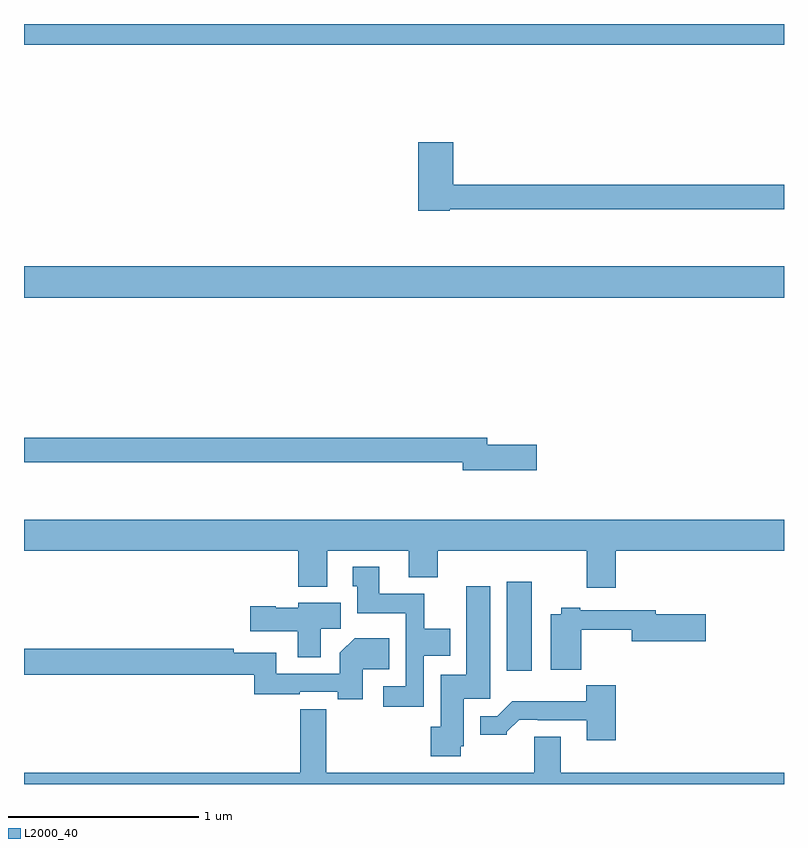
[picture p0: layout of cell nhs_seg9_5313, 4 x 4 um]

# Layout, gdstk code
import gdstk
lib = gdstk.Library(unit=1e-6, precision=1e-09)
def R(c, l, rs):  # rectangles x0, y0, x1, y1
    for r in rs: c.add(gdstk.rectangle(r[:2], r[2:], *l))
def P(c, l, *ps):  # polygons
    for p in ps: c.add(gdstk.Polygon(p, *l))
L2000_40 = (2000, 40)

nhs_seg9_5313 = lib.new_cell('nhs_seg9_5313')
R(nhs_seg9_5313, L2000_40, [(421.541,1221.096,421.672,1221.565), (419,1223.06,423,1223.224), (419,1224.392,423,1224.5)])
P(nhs_seg9_5313, L2000_40, [(421.242,1223.526),(423,1223.526),(423,1223.654),(421.259,1223.654),(421.259,1223.878),(421.076,1223.878),(421.076,1223.518),(421.242,1223.518)],
  [(421.699,1222.286),(421.438,1222.286),(421.438,1222.322),(419,1222.322),(419,1222.194),(421.31,1222.194),(421.31,1222.151),(421.699,1222.151)],
  [(422.114,1221.728),(423,1221.728),(423,1221.892),(419,1221.892),(419,1221.728),(420.443,1221.728),(420.443,1221.539),(420.595,1221.539),(420.595,1221.728),(421.025,1221.728),(421.025,1221.587),(421.178,1221.587),(421.178,1221.728),(421.961,1221.728),(421.961,1221.534),(422.114,1221.534)],
  [(421.104,1221.176),(421.243,1221.176),(421.243,1221.316),(421.107,1221.316),(421.107,1221.502),(420.871,1221.502),(420.871,1221.643),(420.731,1221.643),(420.731,1221.54),(420.755,1221.54),(420.755,1221.398),(421.008,1221.398),(421.008,1221.015),(420.891,1221.015),(420.891,1220.907),(421.104,1220.907)],
  [(421.299,1220.7),(421.315,1220.7),(421.315,1220.949),(421.453,1220.949),(421.453,1221.541),(421.328,1221.541),(421.328,1221.076),(421.193,1221.076),(421.193,1220.802),(421.142,1220.802),(421.142,1220.646),(421.299,1220.646)],
  [(420.562,1221.316),(420.667,1221.316),(420.667,1221.454),(420.444,1221.454),(420.444,1221.427),(420.324,1221.427),(420.324,1221.435),(420.192,1221.435),(420.192,1221.305),(420.44,1221.305),(420.44,1221.168),(420.562,1221.168)],
  [(421.934,1221.313),(422.198,1221.313),(422.198,1221.251),(422.587,1221.251),(422.587,1221.393),(422.326,1221.393),(422.326,1221.414),(421.927,1221.414),(421.927,1221.427),(421.827,1221.427),(421.827,1221.394),(421.772,1221.394),(421.772,1221.101),(421.934,1221.101)],
  [(420.784,1221.104),(420.923,1221.104),(420.923,1221.268),(420.74,1221.268),(420.662,1221.19),(420.662,1221.081),(420.327,1221.081),(420.327,1221.192),(420.104,1221.192),(420.104,1221.212),(419,1221.212),(419,1221.076),(420.211,1221.076),(420.211,1220.973),(420.45,1220.973),(420.45,1220.985),(420.65,1220.985),(420.65,1220.947),(420.784,1220.947)],
  [(422.114,1221.019),(421.959,1221.019),(421.959,1220.935),(421.57,1220.935),(421.491,1220.856),(421.4,1220.856),(421.4,1220.759),(421.542,1220.759),(421.542,1220.774),(421.606,1220.838),(421.705,1220.838),(421.705,1220.835),(421.961,1220.835),(421.961,1220.73),(422.114,1220.73)],
  [(423,1220.56),(421.825,1220.56),(421.825,1220.75),(421.685,1220.75),(421.685,1220.56),(420.59,1220.56),(420.59,1220.893),(420.454,1220.893),(420.454,1220.56),(419,1220.56),(419,1220.5),(423,1220.5)])

lib.write_gds('nhs_seg9_5313.gds')
